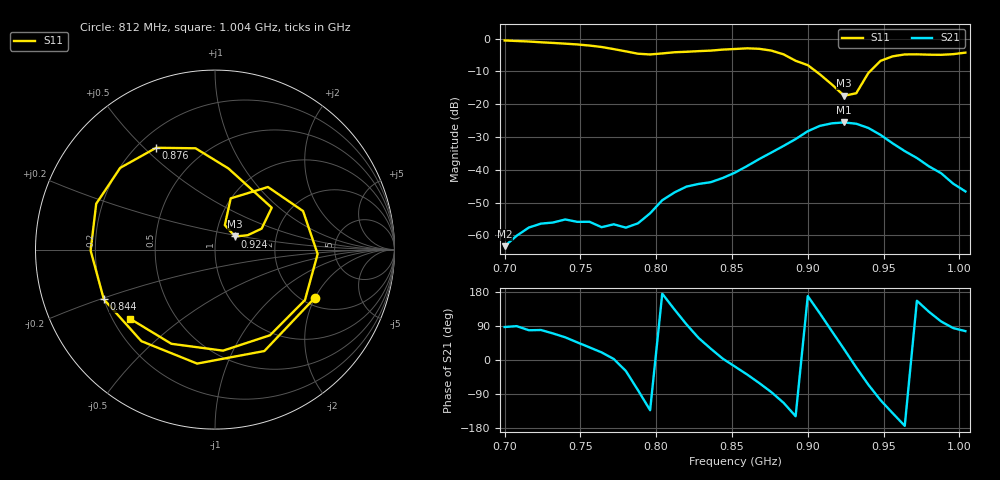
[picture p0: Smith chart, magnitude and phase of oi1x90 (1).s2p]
# Hz S RI R 50
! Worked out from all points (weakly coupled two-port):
!   39 points, 700 MHz to 1.004 GHz, reference 50 ohm
!   highest |S21| = -25.58 dB at 924 MHz (marker M1); lowest = -63.3 dB at 700 MHz (marker M2)
!   lowest |S11| = -17.4 dB at 924 MHz (marker M3), VSWR 1.31, Z = 61.9 + j9.22 ohm
!   |S11| at or under -10 dB: 905.4 MHz to 941.1 MHz (35.69 MHz wide, 3.87 % of centre)
!   S12 and S22 are empty: the file has one direction only
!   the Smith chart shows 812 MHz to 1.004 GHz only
!   S11 on the Smith chart (normalised r, x): 812 MHz: 2.30, -2.00; 844 MHz: 0.20, -0.21; 876 MHz: 0.27, +0.54; 924 MHz: 1.24, +0.18; 1.004 GHz: 0.27, -0.33
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7e8  0.755 0.5516  3.49e-05 0.000683  0 0  0 0
7.24e8  0.8411 -0.2492  0.000284 0.00148  0 0  0 0
7.4e8  0.4572 -0.6991  0.000876 0.00151  0 0  0 0
7.56e8  -0.1864 -0.7594  0.00134 0.000885  0 0  0 0
7.72e8  -0.6589 -0.2044  0.00147 6.93e-05  0 0  0 0
7.8e8  -0.5999 0.2154  0.00115 -0.000636  0 0  0 0
7.88e8  -0.2577 0.5273  0.000273 -0.0015  0 0  0 0
7.96e8  0.2294 0.5242  -0.00146 -0.0016  0 0  0 0
8.04e8  0.5629 0.1863  -0.00342 0.000299  0 0  0 0
8.12e8  0.5563 -0.2687  -0.0031 0.00326  0 0  0 0
8.28e8  -0.0995 -0.6351  0.00322 0.00515  0 0  0 0
8.44e8  -0.6194 -0.2769  0.00749 0.000434  0 0  0 0
8.52e8  -0.693 -0.00521  0.00862 -0.00271  0 0  0 0
8.76e8  -0.3276 0.5673  0.00165 -0.0182  0 0  0 0
9e8  0.3162 0.2336  -0.0379 0.00757  0 0  0 0
9.08e8  0.2596 0.1167  -0.0254 0.0391  0 0  0 0
9.24e8  0.1125 0.0731  0.0463 0.025  0 0  0 0
9.4e8  0.0875 0.2854  0.0181 -0.0394  0 0  0 0
9.56e8  0.4905 0.2148  -0.0194 -0.0161  0 0  0 0
9.64e8  0.5719 -0.0244  -0.0191 -0.00209  0 0  0 0
9.8e8  0.3064 -0.4773  -0.00678 0.00897  0 0  0 0
1.004e9  -0.4731 -0.3853  0.00112 0.00454  0 0  0 0
